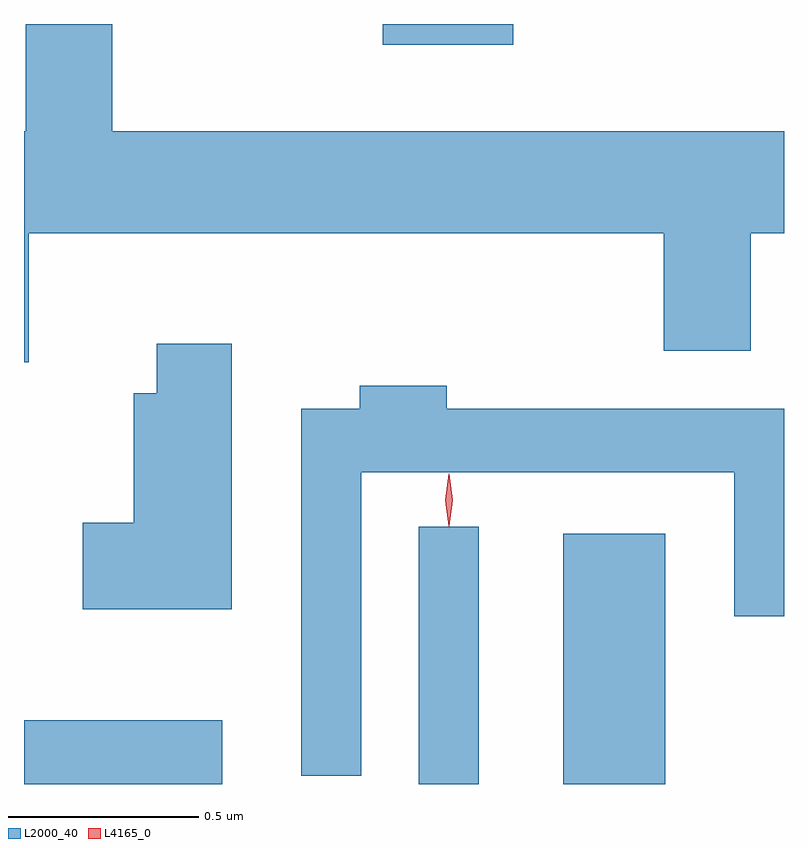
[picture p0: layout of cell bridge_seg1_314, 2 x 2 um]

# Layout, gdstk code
import gdstk
lib = gdstk.Library(unit=1e-6, precision=1e-09)
def R(c, l, rs):  # rectangles x0, y0, x1, y1
    for r in rs: c.add(gdstk.rectangle(r[:2], r[2:], *l))
def P(c, l, *ps):  # polygons
    for p in ps: c.add(gdstk.Polygon(p, *l))
L2000_40 = (2000, 40)
L4165_0 = (4165, 0)

bridge_seg1_314 = lib.new_cell('bridge_seg1_314')
R(bridge_seg1_314, L2000_40, [(870.217,884.806,870.739,884.974), (871.256,884.806,871.414,885.483), (871.636,884.806,871.904,885.464), (871.161,886.751,871.504,886.806)])
P(bridge_seg1_314, L2000_40, [(870.229,886.256),(871.901,886.256),(871.901,885.946),(872.129,885.946),(872.129,886.256),(872.217,886.256),(872.217,886.524),(870.449,886.524),(870.449,886.806),(870.221,886.806),(870.221,886.524),(870.217,886.524),(870.217,885.916),(870.229,885.916)],
  [(870.764,885.964),(870.566,885.964),(870.566,885.834),(870.506,885.834),(870.506,885.494),(870.371,885.494),(870.371,885.266),(870.764,885.266)],
  [(871.104,885.626),(872.086,885.626),(872.086,885.248),(872.217,885.248),(872.217,885.794),(871.329,885.794),(871.329,885.854),(871.101,885.854),(871.101,885.794),(870.946,885.794),(870.946,884.828),(871.104,884.828)])
P(bridge_seg1_314, L4165_0, [(871.335,885.484),(871.335,885.484),(871.325,885.553),(871.335,885.623),(871.335,885.623),(871.336,885.623),(871.345,885.553),(871.336,885.484)])

lib.write_gds('bridge_seg1_314.gds')
